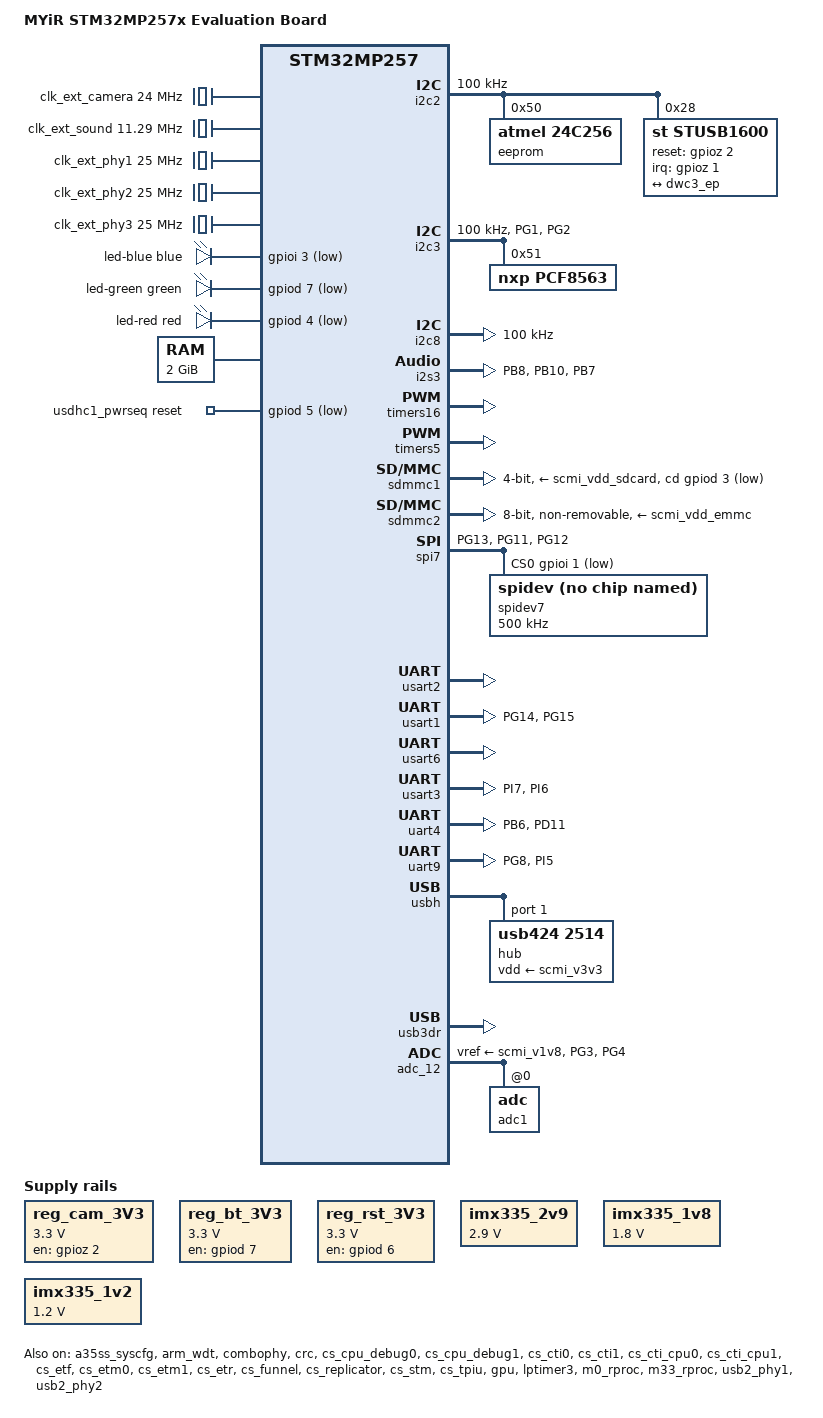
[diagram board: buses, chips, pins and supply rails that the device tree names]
// SPDX-License-Identifier: (GPL-2.0-only OR BSD-3-Clause)
/*
 * Copyright (C) MYiR 2024 - All Rights Reserved
 */

/dts-v1/;

#include <dt-bindings/gpio/gpio.h>
#include <dt-bindings/input/input.h>
#include <dt-bindings/leds/common.h>
#include <dt-bindings/rtc/rtc-stm32.h>
#include "stm32mp257.dtsi"
#include "stm32mp25xf.dtsi"
#include "stm32mp25-pinctrl.dtsi"
#include "stm32mp25xxak-pinctrl.dtsi"

/* 
 *  LVDS 7-inch and 10.1-inch can only use one at a time
 *   LVDS_7INCH_PANEL: 1   use  7.0-inch
 *   LVDS_7INCH_PANEL: 0   use 10.1-inch
 */
 #if (LVDS_7INCH_PANEL)
 #define		LVDS_7INCH_TOUCH		1
 #endif
 
 #define  OTG_USB3_0			1

/ {
	model = "MYiR STM32MP257x Evaluation Board";
	compatible = "st,stm32mp257f-dk", "st,stm32mp257";

	aliases {
		ethernet0 = &eth2;
		ethernet1 = &eth1;
		serial0 = &usart2;
		serial1 = &usart1;
		serial2 = &lpuart1;
		serial3 = &usart3;
		serial4 = &uart4;
		serial6 = &usart6;
		serial8 = &uart8;
		serial9 = &uart9;
		i2c2 = &i2c2;
		i2c3 = &i2c3;
		i2c8 = &i2c8;
                mmc0 = &sdmmc1;
                mmc1 = &sdmmc2;
                mmc2 = &sdmmc3;
	};

	chosen {
		stdout-path = "serial0:115200n8";
		#address-cells = <2>;
		#size-cells = <2>;
		ranges;

		framebuffer {
			compatible = "simple-framebuffer";
			clocks = <&rcc CK_BUS_LTDC>, <&rcc CK_KER_LTDC>,
				 <&rcc CK_BUS_LVDS>, <&rcc CK_KER_LVDSPHY>;
			status = "disabled";
		};
	};

	clocks {
		clk_ext_camera: clk-ext-camera {
			#clock-cells = <0>;
			compatible = "fixed-clock";
			clock-frequency = <24000000>;
		};

		pad_clk: pad-clk {
			#clock-cells = <0>;
			compatible = "fixed-clock";
			clock-frequency = <100000000>;
		};

		clk_ext_sound: clk-ext-sound {
			#clock-cells = <0>;
			compatible = "fixed-clock";
			clock-frequency = <11289600>;
		};

		clk_ext_phy1: clk-ext-phy1 {
			#clock-cells = <0>;
			compatible = "fixed-clock";
			clock-frequency = <25000000>;
		};
		clk_ext_phy2: clk-ext-phy2 {
			#clock-cells = <0>;
			compatible = "fixed-clock";
			clock-frequency = <25000000>;
		};
		clk_ext_phy3: clk-ext-phy3 {
			#clock-cells = <0>;
			compatible = "fixed-clock";
			clock-frequency = <25000000>;
		};
	};

	reg_cam_3V3: cam-reg {
	    compatible = "regulator-fixed";
	    regulator-name = "cam-reg-3v3";
	    regulator-min-microvolt = <3300000>;
	    regulator-max-microvolt = <3300000>;
	    regulator-enable-ramp-delay = <1000>;
	    gpio = <&gpioz 2 GPIO_ACTIVE_HIGH>;
	    enable-active-high;
	    regulator-boot-on;
	    regulator-always-on;
	};
    reg_bt_3V3: bt-reg {
            compatible = "regulator-fixed";
            regulator-name = "bt-reg-3v3";
            regulator-min-microvolt = <3300000>;
            regulator-max-microvolt = <3300000>;
            regulator-enable-ramp-delay = <1000>;
            gpio = <&gpiod 7 GPIO_ACTIVE_HIGH>;
            enable-active-high;
            regulator-boot-on;
            regulator-always-on;
    };

	reg_rst_3V3: rst-reg {
            compatible = "regulator-fixed";
            regulator-name = "rst-reg-3v3";
            regulator-min-microvolt = <3300000>;
            regulator-max-microvolt = <3300000>;
            regulator-enable-ramp-delay = <1000>;
            gpio = <&gpiod 6 GPIO_ACTIVE_HIGH>;
            enable-active-high;
            regulator-boot-on;
            regulator-always-on;
    };	

	gpio-leds {
		compatible = "gpio-leds";

		led-blue {
			function = LED_FUNCTION_HEARTBEAT;
			color = <LED_COLOR_ID_BLUE>;
			gpios = <&gpioi 3 GPIO_ACTIVE_LOW>;
			linux,default-trigger = "heartbeat";
			default-state = "off";
		};

		led-green {
			function = LED_FUNCTION_HEARTBEAT;
			color = <LED_COLOR_ID_GREEN>;
			gpios = <&gpiod 7 GPIO_ACTIVE_LOW>;
			linux,default-trigger = "heartbeat";
			default-state = "off";
		};
		
		led-red {
                        function = LED_FUNCTION_HEARTBEAT;
                        color = <LED_COLOR_ID_RED>;
                        gpios = <&gpiod 4 GPIO_ACTIVE_LOW>;
                        linux,default-trigger = "heartbeat";
                        default-state = "off";
                };

	};

	imx335_2v9: imx335-2v9 {
		compatible = "regulator-fixed";
		regulator-name = "imx335-avdd";
		regulator-min-microvolt = <2900000>;
		regulator-max-microvolt = <2900000>;
		regulator-always-on;
	};

	imx335_1v8: imx335-1v8 {
		compatible = "regulator-fixed";
		regulator-name = "imx335-ovdd";
		regulator-min-microvolt = <1800000>;
		regulator-max-microvolt = <1800000>;
		regulator-always-on;
	};

	imx335_1v2: imx335-1v2 {
		compatible = "regulator-fixed";
		regulator-name = "imx335-dvdd";
		regulator-min-microvolt = <1200000>;
		regulator-max-microvolt = <1200000>;
		regulator-always-on;
	};

	memory@80000000 {
		device_type = "memory";
		reg = <0x0 0x80000000 0x0 0x80000000>;
	};

	usdhc1_pwrseq: usdhc1_pwrseq {
		compatible = "mmc-pwrseq-simple";
		reset-gpios = <&gpiod 5 GPIO_ACTIVE_LOW>;
	};

};

&pinctrl{

	i2c3_pins_a: i2c3-0 {
		pins {
			pinmux = <STM32_PINMUX('G', 1, AF9)>, /* I2C3_SCL */
				 <STM32_PINMUX('G', 2, AF9)>; /* I2C3_SDA */
			bias-disable;
			drive-open-drain;
			slew-rate = <0>;
		};
	};

	i2c3_sleep_pins_a: i2c3-sleep-0 {
		pins {
			pinmux = <STM32_PINMUX('G', 1, ANALOG)>, /* I2C3_SCL */
				 <STM32_PINMUX('G', 2, ANALOG)>; /* I2C3_SDA */
		};
	};


        adc_12_pins_mx: adc_12_mx-0 {
                pins {
                        pinmux = <STM32_PINMUX('G', 3, ANALOG)>, /* ADC1_INP3 */
                                         <STM32_PINMUX('G', 4, ANALOG)>; /* ADC1_INP4 */
                };
        };

        adc_12_sleep_pins_mx: adc_12_sleep_mx-0 {
                pins {
                        pinmux = <STM32_PINMUX('G', 3, ANALOG)>, /* ADC1_INP3 */
                                         <STM32_PINMUX('G', 4, ANALOG)>; /* ADC1_INP4 */
                };
        };

	usart1_pins_a: usart1-0 {
		pins1 {
			pinmux = <STM32_PINMUX('G', 14, AF6)>; /* USART1_TX */
			bias-disable;
			drive-push-pull;
			slew-rate = <0>;
		};
		pins2 {
			pinmux = <STM32_PINMUX('G', 15, AF6)>; /* USART1_RX */
			bias-disable;
		};
	};

	usart1_idle_pins_a: usart1-idle-0 {
		pins1 {
			pinmux = <STM32_PINMUX('G', 14, ANALOG)>; /* USART2_TX */
		};
		pins2 {
			pinmux = <STM32_PINMUX('G', 15, AF6)>; /* USART1_RX */
			bias-disable;
		};
	};

	usart1_sleep_pins_a: usart1-sleep-0 {
		pins {
			pinmux = <STM32_PINMUX('G', 14, ANALOG)>, /* USART2_TX */
				 <STM32_PINMUX('G', 15, ANALOG)>; /* USART2_RX */
		};
	};

	usart3_pins_a: usart3-0 {
		pins1 {
			pinmux = <STM32_PINMUX('I', 7, AF6)>; /* UART3_TX */
			bias-disable;
			drive-push-pull;
			slew-rate = <0>;
		};
		pins2 {
			pinmux = <STM32_PINMUX('I', 6, AF6)>; /* UART3_RX */
			bias-disable;
		};
	};

	usart3_idle_pins_a: usart3-idle-0 {
		pins1 {
			pinmux = <STM32_PINMUX('I', 7, ANALOG)>; /* UART3_TX */
		};
		pins2 {
			pinmux = <STM32_PINMUX('I', 6, AF6)>; /* UART3_RX */
			bias-disable;
		};
	};

	usart3_sleep_pins_a: usart3-sleep-0 {
		pins {
			pinmux = <STM32_PINMUX('I', 7, ANALOG)>, /* UART3_TX */
				 <STM32_PINMUX('I', 6, ANALOG)>; /* UART3_RX */
		};
	};

	uart4_pins_a: uart4-0 {
		pins1 {
			pinmux = <STM32_PINMUX('B', 6, AF3)>; /* UART4_TX */
			bias-disable;
			drive-push-pull;
			slew-rate = <0>;
		};
		pins2 {
			pinmux = <STM32_PINMUX('D', 11, AF4)>; /* UART4_RX */
			bias-disable;
		};
	};

	uart4_idle_pins_a: uart4-idle-0 {
		pins1 {
			pinmux = <STM32_PINMUX('B', 6, ANALOG)>; /* UART4_TX */
		};
		pins2 {
			pinmux = <STM32_PINMUX('D', 11, AF4)>; /* UART4_RX */
			bias-disable;
		};
	};

	uart4_sleep_pins_a: uart4-sleep-0 {
		pins {
			pinmux = <STM32_PINMUX('B', 6, ANALOG)>, /* UART4_TX */
				 <STM32_PINMUX('D', 11, ANALOG)>; /* UART4_RX */
		};
	};


	uart9_pins_a: uart9-0 {
		pins1 {
			pinmux = <STM32_PINMUX('G', 8, AF6)>; /* UART9_TX */
			bias-disable;
			drive-push-pull;
			slew-rate = <0>;
		};
		pins2 {
			pinmux = <STM32_PINMUX('I', 5, AF6)>; /* UART9_RX */
			bias-disable;
		};
	};

	uart9_idle_pins_a: uart9-idle-0 {
		pins1 {
			pinmux = <STM32_PINMUX('G', 8, ANALOG)>; /* UART9_TX */
		};
		pins2 {
			pinmux = <STM32_PINMUX('I', 5, AF5)>; /* UART9_RX */
			bias-disable;
		};
	};

	uart9_sleep_pins_a: uart9-sleep-0 {
		pins {
			pinmux = <STM32_PINMUX('G', 8, ANALOG)>, /* UART9_TX */
				 <STM32_PINMUX('I', 5, ANALOG)>; /* UART9_RX */
		};
	};

	spi7_pins_a: spi7-0 {
		pins1 {
			pinmux = <STM32_PINMUX('G', 13, AF2)>, /* SPI7_SCK */
				 <STM32_PINMUX('G', 11, AF2)>; /* SPI7_MOSI */
			drive-push-pull;
			bias-disable;
			slew-rate = <1>;
		};
		pins2 {
			pinmux = <STM32_PINMUX('G', 12, AF2)>; /* SPI7_MISO */
			bias-disable;
		};
	};

	spi7_sleep_pins_a: spi7-sleep-0 {
		pins1 {
			pinmux = <STM32_PINMUX('G', 13, ANALOG)>, /* SPI7_SCK */
				 <STM32_PINMUX('G', 11, ANALOG)>, /* SPI7_MOSI */
				 <STM32_PINMUX('G', 12, ANALOG)>; /* SPI7_MISO */
		};
	};

	i2s3_pins_a: i2s3-0 {
		pins1 {
			pinmux = <STM32_PINMUX('B', 8, AF1)>, /* I2S3_SDO */
				 <STM32_PINMUX('B', 10, AF1)>, /* I2S3_SDI */
				 <STM32_PINMUX('B', 7, AF1)>; /* I2S3_CK */
			slew-rate = <1>;
			drive-push-pull;
			bias-disable;
		};
	};

	i2s3_sleep_pins_a: i2s3-sleep-0 {
		pins {
			pinmux = <STM32_PINMUX('B', 8, ANALOG)>, /* I2S3_SDO */
				 <STM32_PINMUX('B', 10, ANALOG)>, /* I2S3_SDI */
				 <STM32_PINMUX('B', 7, ANALOG)>; /* I2S3_CK */
		};
	};
};

&pinctrl_z {
	i2c8_pins_a: i2c8-0 {
            pins {
                    pinmux = <STM32_PINMUX('Z', 4, AF8)>, /* I2C8_SCL */
                             <STM32_PINMUX('Z', 9, AF8)>; /* I2C8_SDA */
                    bias-disable;
                    drive-open-drain;
                    slew-rate = <0>;
            };
    };

    i2c8_sleep_pins_a: i2c8-sleep-0 {
            pins {
                    pinmux = <STM32_PINMUX('Z', 4, ANALOG)>, /* I2C8_SCL */
                             <STM32_PINMUX('Z', 9, ANALOG)>; /* I2C8_SDA */
            };
    };

};


&a35ss_syscfg {
	status = "okay";
};

&ahbsr {
	mbox_client: mailbox-client@1 {
		compatible = "mbox-cdev";
		reg = <1 0>;
		memory-region =  <&ipc_shmem_2>;
		mboxes = <&ipcc2 0>;
		mbox-names = "rx-tx";
		status = "okay";
	};
};

&arm_wdt {
	timeout-sec = <32>;
	status = "okay";
};

&combophy {
	#if (OTG_USB3_0)
	clocks = <&rcc CK_BUS_USB3PCIEPHY>, <&rcc CK_KER_USB3PCIEPHY>;
    clock-names = "apb-clk", "ker-clk";
#else
	clocks = <&rcc CK_BUS_USB3PCIEPHY>, <&rcc CK_KER_USB3PCIEPHY>, <&pad_clk>;
	clock-names = "apb-clk", "ker-clk", "pad-clk";
#endif
	st,rx_equalizer = <1>;
	status = "okay";
};

&crc {
	status = "okay";
};

&cs_cpu_debug0 {
	status = "okay";
};

&cs_cpu_debug1 {
	status = "okay";
};

&cs_cti0 {
	status = "okay";
};

&cs_cti1 {
	status = "okay";
};

&cs_cti_cpu0 {
	status = "okay";
};

&cs_cti_cpu1 {
	status = "okay";
};

&cs_etf {
	status = "okay";
};

&cs_etm0 {
	status = "okay";
};

&cs_etm1 {
	status = "okay";
};

&cs_etr {
	status = "okay";
};

&cs_funnel {
	status = "okay";
};

&cs_replicator {
	status = "okay";
};

&cs_stm {
	status = "okay";
};

&cs_tpiu {
	status = "okay";
};



&gpu {
	contiguous-area = <&gpu_reserved>;
	status = "okay";
};

&hpdma {
	memory-region = <&hpdma1_lli>;
};

&hpdma2 {
	memory-region = <&hpdma2_lli>;
};

&hpdma3 {
	memory-region = <&hpdma3_lli>;
};

&i2c2 {
	pinctrl-names = "default", "sleep";
	pinctrl-0 = <&i2c2_pins_a>;
	pinctrl-1 = <&i2c2_sleep_pins_a>;
	i2c-scl-rising-time-ns = <100>;
	i2c-scl-falling-time-ns = <13>;
	clock-frequency = <100000>;
	status = "okay";
	/* spare dmas for other usage */
	/delete-property/dmas;
	/delete-property/dma-names;

	eeprom@50 {
		compatible = "atmel,24c256";
		reg = <0x50>;
		status = "okay";
	};


    stusb1600@28 {
            compatible = "st,stusb1600";
            reg = <0x28>;
            interrupt-parent = <&gpioz>;
            interrupts = <1 IRQ_TYPE_EDGE_FALLING>;
            pinctrl-names = "default";
            reset-gpios = <&gpioz 2 GPIO_ACTIVE_HIGH>;
            status = "okay";


            connector {
                    compatible = "usb-c-connector";
                    label = "USB-C";
                    power-role = "dual";
                    typec-power-opmode = "default";

                    port {
                            typec_ep: endpoint {
                                    remote-endpoint = <&dwc3_ep>;
                            };
                    };
            };
		};
};

&i2c3 {
	pinctrl-names = "default", "sleep";
	pinctrl-0 = <&i2c3_pins_a>;
	pinctrl-1 = <&i2c3_sleep_pins_a>;
	i2c-scl-rising-time-ns = <185>;
	i2c-scl-falling-time-ns = <20>;
	clock-frequency = <100000>;
	status = "okay";
	/* spare dmas for other usage */
	/delete-property/dmas;
	/delete-property/dma-names;

	pcf8563: pcf8563@51 {
			compatible = "nxp,pcf8563";
			reg = <0x51>;
			status = "okay";
	};

};

&i2c8 {
	pinctrl-names = "default", "sleep";
	pinctrl-0 = <&i2c8_pins_a>;
	pinctrl-1 = <&i2c8_sleep_pins_a>;
	i2c-scl-rising-time-ns = <185>;
	i2c-scl-falling-time-ns = <20>;
	clock-frequency = <100000>;
	status = "okay";
	/* spare dmas for other usage */
	///delete-property/dmas;
	///delete-property/dma-names;

};

&i2s2 {
	pinctrl-names = "default", "sleep";
	pinctrl-0 = <&i2s2_pins_a>;
	pinctrl-1 = <&i2s2_sleep_pins_a>;
	status = "disabled";
};

&i2s3 {
	pinctrl-names = "default", "sleep";
	pinctrl-0 = <&i2s3_pins_a>;
	pinctrl-1 = <&i2s3_sleep_pins_a>;
	status = "okay";

};

&ipcc1 {
	status = "okay";
};

&ipcc2 {
	status = "okay";
};

/* use LPTIMER with tick broadcast for suspend mode */
&lptimer3 {
	status = "okay";
	timer {
		status = "okay";
	};
};

&lpuart1 {
	pinctrl-names = "default", "idle", "sleep";
	pinctrl-0 = <&lpuart1_pins_a>;
	pinctrl-1 = <&lpuart1_idle_pins_a>;
	pinctrl-2 = <&lpuart1_sleep_pins_a>;
	/delete-property/dmas;
	/delete-property/dma-names;
	wakeup-source;
	uart-has-rtscts;
	status = "disabled";
};


&timers16 {
    status = "okay";
    /* spare dmas for other usage */
    /delete-property/dmas;
    /delete-property/dma-names;

    pwm16: pwm {
        pinctrl-0 = <&pwm16_pins_a>;
        pinctrl-1 = <&pwm16_sleep_pins_a>;
        pinctrl-names = "default", "sleep";
        #pwm-cells = <2>;
        status = "okay";
    };
};

&timers5 {
    status = "okay";
    /* spare dmas for other usage */
    /delete-property/dmas;
    /delete-property/dma-names;

    pwm5: pwm {
        pinctrl-0 = <&pwm5_pins_a>;
        pinctrl-1 = <&pwm5_sleep_pins_a>;
        pinctrl-names = "default", "sleep";
        #pwm-cells = <2>;
        status = "okay";
    };
};

&m0_rproc {
	mboxes = <&ipcc2 0>, <&ipcc2 1>, <&ipcc2 2>;
	mbox-names = "rx", "tx", "shutdown";
	memory-region = <&cm0_cube_fw>, <&cm0_cube_data>;
	clocks = <&rcc CK_CPU3>,
		 <&rcc CK_CPU3_AM>,
		 <&scmi_clk CK_SCMI_IPCC2>,
		 <&scmi_clk CK_SCMI_IPCC2_AM>;
	status = "okay";
};

&m33_rproc {
	mboxes = <&ipcc1 0x100>, <&ipcc1 0x101>, <&ipcc1 2>;
	mbox-names = "vq0", "vq1", "shutdown";
	memory-region = <&cm33_cube_fw>, <&cm33_cube_data>,
			<&ipc_shmem_1>, <&vdev0vring0>,
			<&vdev0vring1>, <&vdev0buffer>,
			<&cm33_sram2>;
	st,syscfg-nsvtor = <&a35ss_syscfg 0xa8 0xffffff80>;
	status = "okay";
};

&m_can3 {
	status = "disabled";
};

&rtc {
	status = "disabled";
};

&scmi_regu {
	scmi_vddio1: regulator@0 {
		regulator-min-microvolt = <3300000>;
		regulator-max-microvolt = <3300000>;
	};
	scmi_vddcore: regulator@11  {
		reg = <VOLTD_SCMI_STPMIC2_BUCK2>;
		regulator-name = "vddcore";
	};
	scmi_v1v8: regulator@14  {
		reg = <VOLTD_SCMI_STPMIC2_BUCK5>;
		regulator-name = "v1v8";
	};
	scmi_v3v3: regulator@16 {
		reg = <VOLTD_SCMI_STPMIC2_BUCK7>;
		regulator-name = "v3v3";
	};
	scmi_vdd_emmc: regulator@18 {
		reg = <VOLTD_SCMI_STPMIC2_LDO2>;
		regulator-name = "vdd_emmc";
	};
	scmi_vdd3v3_usb: regulator@20 {
		reg = <VOLTD_SCMI_STPMIC2_LDO4>;
		regulator-name = "vdd3v3_usb";
	};
	scmi_vdd_sdcard: regulator@23 {
		reg = <VOLTD_SCMI_STPMIC2_LDO7>;
		regulator-name = "vdd_sdcard";
	};
};

&sdmmc1 {
	pinctrl-names = "default", "opendrain", "sleep";
	pinctrl-0 = <&sdmmc1_b4_pins_b>;
	pinctrl-1 = <&sdmmc1_b4_od_pins_b>;
	pinctrl-2 = <&sdmmc1_b4_sleep_pins_a>;
	cd-gpios = <&gpiod 3 (GPIO_ACTIVE_LOW | GPIO_PULL_UP)>;
	max-frequency = <50000000>;
	disable-wp;
	st,neg-edge;
	bus-width = <4>;
	vmmc-supply = <&scmi_vdd_sdcard>;
	vqmmc-supply = <&scmi_vddio1>;
	status = "okay";
};

&sdmmc2 {
	pinctrl-names = "default", "opendrain", "sleep";
	pinctrl-0 = <&sdmmc2_b4_pins_a &sdmmc2_d47_pins_a>;
	pinctrl-1 = <&sdmmc2_b4_od_pins_a &sdmmc2_d47_pins_a>;
	pinctrl-2 = <&sdmmc2_b4_sleep_pins_a &sdmmc2_d47_sleep_pins_a>;
	non-removable;
	no-sd;
	no-sdio;
	st,neg-edge;
	bus-width = <8>;
	vmmc-supply = <&scmi_vdd_emmc>;
	vqmmc-supply = <&scmi_vddio2>;
	mmc-ddr-1_8v;
	status = "okay";
};

&spi7 {
		pinctrl-names = "default", "sleep";
		pinctrl-0 = <&spi7_pins_a>;
		pinctrl-1 = <&spi7_sleep_pins_a>;
		cs-gpios = <&gpioi 1 GPIO_ACTIVE_LOW>;
		status = "okay";
	
		spidev7@0 {
			reg = <0>;
			compatible = "rohm,dh2228fv";
			spi-max-frequency = <500000>;
			spi-rx-bus-width = <0x1>;
			spi-tx-bus-width = <0x1>;
	};
};

&spi3 {
	pinctrl-names = "default", "sleep";
	pinctrl-0 = <&spi3_pins_a>;
	pinctrl-1 = <&spi3_sleep_pins_a>;
	status = "disabled";
};

&spi8 {
	pinctrl-names = "default", "sleep";
	pinctrl-0 = <&spi8_pins_a>;
	pinctrl-1 = <&spi8_sleep_pins_a>;
	status = "disabled";
};

&usart2 {
	pinctrl-names = "default", "idle", "sleep";
	pinctrl-0 = <&usart2_pins_a>;
	pinctrl-1 = <&usart2_idle_pins_a>;
	pinctrl-2 = <&usart2_sleep_pins_a>;
	/delete-property/dmas;
	/delete-property/dma-names;
	status = "okay";
};

&usart1 {
	pinctrl-names = "default", "idle", "sleep";
	pinctrl-0 = <&usart1_pins_a>;
	pinctrl-1 = <&usart1_idle_pins_a>;
	pinctrl-2 = <&usart1_sleep_pins_a>;
	/delete-property/dmas;
	/delete-property/dma-names;
	status = "okay";
};

&usart6 {
	pinctrl-names = "default", "idle", "sleep";
	pinctrl-0 = <&usart6_pins_a>;
	pinctrl-1 = <&usart6_idle_pins_a>;
	pinctrl-2 = <&usart6_sleep_pins_a>;
	uart-has-rtscts;
	status = "okay";
};

&usart3 {
	pinctrl-names = "default", "idle", "sleep";
	pinctrl-0 = <&usart3_pins_a>;
	pinctrl-1 = <&usart3_idle_pins_a>;
	pinctrl-2 = <&usart3_sleep_pins_a>;
	status = "okay";
};

&uart4 {
	pinctrl-names = "default", "idle", "sleep";
	pinctrl-0 = <&uart4_pins_a>;
	pinctrl-1 = <&uart4_idle_pins_a>;
	pinctrl-2 = <&uart4_sleep_pins_a>;
	status = "okay";
};

&uart9 {
	pinctrl-names = "default", "idle", "sleep";
	pinctrl-0 = <&uart9_pins_a>;
	pinctrl-1 = <&uart9_idle_pins_a>;
	pinctrl-2 = <&uart9_sleep_pins_a>;
	status = "okay";
};

&usb2_phy1 {
	vdd33-supply = <&scmi_vdd3v3_usb>;
	status = "okay";
};

&usb2_phy2 {
	vdd33-supply = <&scmi_vdd3v3_usb>;
	status = "okay";
};

&usbh {
	status = "okay";

	usbh_ehci: usb@482f0000 {
		#address-cells = <1>;
		#size-cells = <0>;
		/* onboard HUB */
		hub@1 {
			compatible = "usb424,2514";
			reg = <1>;
			vdd-supply = <&scmi_v3v3>;
		};
	};

	usbh_ohci: usb@482e0000 {
		status = "disabled";
	};
};

&usb3dr {
	status = "okay";

	dwc3: usb@48300000 {
#if (OTG_USB3_0)
		phys            = <&usb2_phy2>, <&combophy PHY_TYPE_USB3>;
		phy-names       = "usb2-phy", "usb3-phy";
        maximum-speed = "super-speed";
#else
		maximum-speed = "high-speed";
#endif
        snps,incr-burst-type-adjustment = <4>;
        dr_mode = "otg";
		usb-role-switch;
        //role-switch-default-mode = "peripheral";
        role-switch-default-mode = "host";
        snps,dis_u2_susphy_quirk;
        snps,dis_u3_susphy_quirk;
        snps,dis_enblslpm_quirk;
        snps,dis-tx-ipgap-linecheck-quirk;
		port {
			dwc3_ep: endpoint {
				remote-endpoint = <&typec_ep>;
			};
		};
	};
};

/*
&adc_12 {
        pinctrl-names = "default";
        pinctrl-0 = <&adc1_pins_a>;
        vdda-supply = <&scmi_v1v8>;
        vref-supply = <&scmi_v1v8>;
        status = "okay";

        adc1: adc@0 {
                #address-cells = <1>;
                #size-cells = <0>;
                status = "okay";

                channel@5 {
                        reg = <5>;                                     
                        st,min-sample-time-ns = <10000>;       
                };
		channel@16 {
                        reg = <16>;                                     
                        st,min-sample-time-ns = <10000>;        
                };
		channel@3 {
                        reg = <3>;                                   
                        st,min-sample-time-ns = <10000>;   
                };
		channel@4 {
                        reg = <4>;                                     
                        st,min-sample-time-ns = <10000>;   
                };
		channel@15 {
                        reg = <15>;                             
                        st,min-sample-time-ns = <10000>;  
                };
        };
};
*/

&adc_12{
        pinctrl-names = "default", "sleep";
        pinctrl-0 = <&adc_12_pins_mx>;
        pinctrl-1 = <&adc_12_sleep_pins_mx>;
        vdda-supply = <&scmi_v1v8>;
        vref-supply = <&scmi_v1v8>;
        status = "okay";
        adc1: adc@0 {
                #address-cells = <1>;
                #size-cells = <0>;
                /* private resources for ADC1 */
                status = "okay";
                /* Single-ended channel */
                channel@3 {
                        reg = <3>;               /* ADC1 in3 channel is used */
                        st,min-sample-time-ns = <10000>;  /* 10µs sampling time */
                };
                /* Single-ended channel */
                channel@4 {
                        reg = <4>;
                        st,min-sample-time-ns = <10000>;  /* 10µs sampling time */
                };
        };

};

